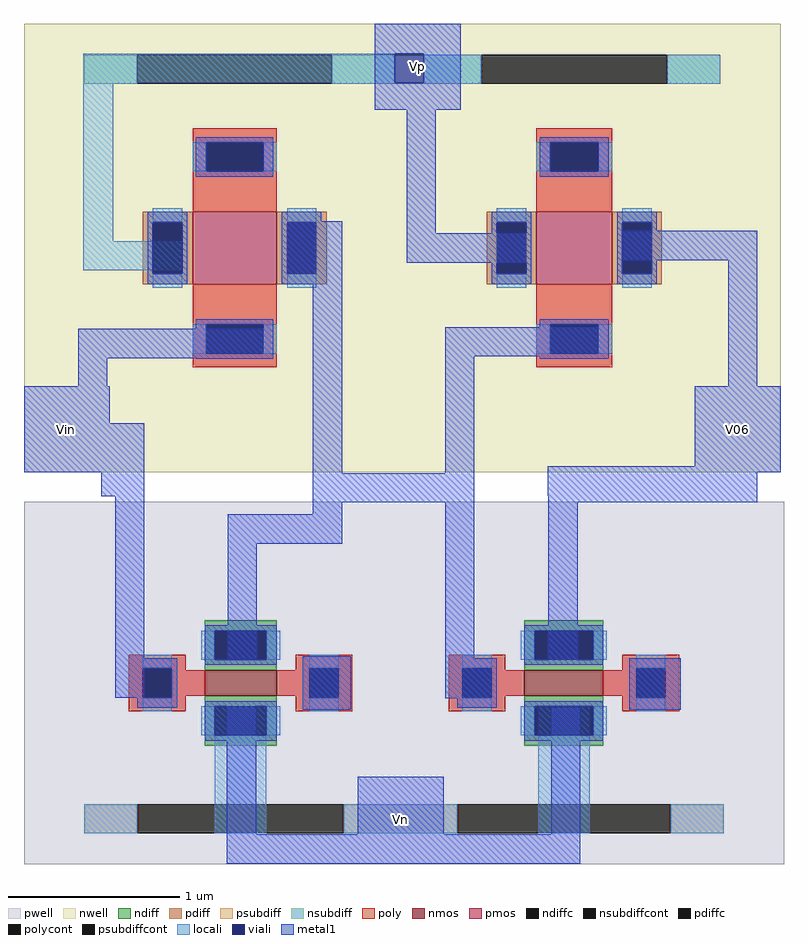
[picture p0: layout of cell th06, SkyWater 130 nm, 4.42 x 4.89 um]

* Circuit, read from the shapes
.subckt th06 Vp Vin V06 Vn
XM1 n1 Vin Vn Vn sky130_fd_pr__nfet_01v8 w=0.42 l=0.15
XM2 V06 n1 Vn Vn sky130_fd_pr__nfet_01v8 w=0.46 l=0.15
XM3 n1 Vin Vp Vp sky130_fd_pr__pfet_01v8 w=0.42 l=0.49
XM4 V06 n1 Vp Vp sky130_fd_pr__pfet_01v8 w=0.42 l=0.44
.ends

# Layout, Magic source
magic
tech sky130A
magscale 1 2
<< pwell >>
rect 436 -852 470 -792
<< psubdiff >>
rect 605 -940 703 -906
<< nsubdiff >>
rect 601 -68 704 -34
<< locali >>
rect 269 -67 631 -33
rect 665 -67 704 -34
rect 269 -251 304 -67
rect 611 -68 704 -67
rect 269 -285 383 -251
rect 422 -940 482 -792
rect 603 -940 699 -906
rect 798 -940 858 -792
<< viali >>
rect 631 -67 665 -33
<< metal1 >>
rect 608 -33 708 2
rect 608 -67 631 -33
rect 665 -67 708 -33
rect 608 -98 708 -67
rect 536 -229 570 -228
rect 505 -289 570 -229
rect 645 -242 679 -98
rect 645 -276 786 -242
rect 897 -273 1053 -239
rect 263 -387 479 -353
rect 263 -420 297 -387
rect 200 -463 300 -420
rect 200 -520 340 -463
rect 290 -548 340 -520
rect 306 -782 340 -548
rect 536 -521 570 -289
rect 690 -385 871 -351
rect 690 -521 724 -385
rect 1019 -420 1053 -273
rect 980 -513 1080 -420
rect 536 -555 724 -521
rect 809 -520 1080 -513
rect 809 -547 1053 -520
rect 536 -569 570 -555
rect 437 -603 570 -569
rect 437 -737 471 -603
rect 436 -941 470 -792
rect 524 -796 580 -734
rect 690 -749 724 -555
rect 810 -555 1053 -547
rect 810 -738 844 -555
rect 690 -783 745 -749
rect 588 -941 688 -874
rect 813 -941 847 -793
rect 904 -796 964 -736
rect 436 -975 847 -941
use sky130_fd_pr__nfet_01v8_DD6SHA  XM0
transform 0 -1 452 1 0 -765
box -211 -252 211 252
use sky130_fd_pr__pfet_01v8_7DPLFP  XM1
transform 1 0 445 0 1 -259
box -245 -261 245 261
use sky130_fd_pr__pfet_01v8_MDPZBH  XM2
transform 1 0 840 0 1 -259
box -240 -261 240 261
use sky130_fd_pr__nfet_01v8_MYA4RC  XM3
transform 0 -1 828 1 0 -765
box -211 -256 211 256
<< labels >>
flabel metal1 980 -520 1080 -420 0 FreeSans 256 0 0 0 V06
port 2 nsew
flabel metal1 608 -98 708 2 0 FreeSans 256 0 0 0 Vp
port 0 nsew
flabel metal1 200 -520 300 -420 0 FreeSans 256 0 0 0 Vin
port 1 nsew
flabel metal1 588 -974 688 -874 0 FreeSans 256 0 0 0 Vn
port 3 nsew
<< end >>

# cell sky130_fd_pr__nfet_01v8_DD6SHA: kit device sky130_fd_pr__nfet_01v8, w 0.42 l 0.152 m 1 nf 1 diffcov 100 polycov 100 guard 1 glc 1 grc 1 gtc 1 gbc 1 tbcov 100 rlcov 100 topc 1 botc 1 poverlap 0 doverlap 1 lmin 0.15 wmin 0.42 compatible {sky130_fd_pr__nfet_01v8 sky130_fd_pr__nfet_01v8_lvt sky130_fd_bs_flash__special_sonosfet_star sky130_fd_pr__nfet_g5v0d10v5 sky130_fd_pr__nfet_05v0_nvt sky130_fd_pr__nfet_03v3_nvt} full_metal 1 viasrc 100 viadrn 100 viagate 100 viagb 0 viagr 0 viagl 0 viagt 0

# cell sky130_fd_pr__pfet_01v8_7DPLFP: kit device sky130_fd_pr__pfet_01v8, w 0.42 l 0.494 m 1 nf 1 diffcov 100 polycov 100 guard 1 glc 1 grc 1 gtc 1 gbc 1 tbcov 100 rlcov 100 topc 1 botc 1 poverlap 0 doverlap 1 lmin 0.15 wmin 0.42 compatible {sky130_fd_pr__pfet_01v8 sky130_fd_pr__pfet_01v8_lvt sky130_fd_pr__pfet_01v8_hvt sky130_fd_pr__pfet_g5v0d10v5} full_metal 1 viasrc 100 viadrn 100 viagate 100 viagb 0 viagr 0 viagl 0 viagt 0

# cell sky130_fd_pr__pfet_01v8_MDPZBH: kit device sky130_fd_pr__pfet_01v8, w 0.422 l 0.436 m 1 nf 1 diffcov 100 polycov 100 guard 1 glc 1 grc 1 gtc 1 gbc 1 tbcov 100 rlcov 100 topc 1 botc 1 poverlap 0 doverlap 1 lmin 0.15 wmin 0.42 compatible {sky130_fd_pr__pfet_01v8 sky130_fd_pr__pfet_01v8_lvt sky130_fd_pr__pfet_01v8_hvt sky130_fd_pr__pfet_g5v0d10v5} full_metal 1 viasrc 100 viadrn 100 viagate 100 viagb 0 viagr 0 viagl 0 viagt 0

# cell sky130_fd_pr__nfet_01v8_MYA4RC: kit device sky130_fd_pr__nfet_01v8, w 0.462 l 0.15 m 1 nf 1 diffcov 100 polycov 100 guard 1 glc 1 grc 1 gtc 1 gbc 1 tbcov 100 rlcov 100 topc 1 botc 1 poverlap 0 doverlap 1 lmin 0.15 wmin 0.42 compatible {sky130_fd_pr__nfet_01v8 sky130_fd_pr__nfet_01v8_lvt sky130_fd_bs_flash__special_sonosfet_star sky130_fd_pr__nfet_g5v0d10v5 sky130_fd_pr__nfet_05v0_nvt sky130_fd_pr__nfet_03v3_nvt} full_metal 1 viasrc 100 viadrn 100 viagate 100 viagb 0 viagr 0 viagl 0 viagt 0
